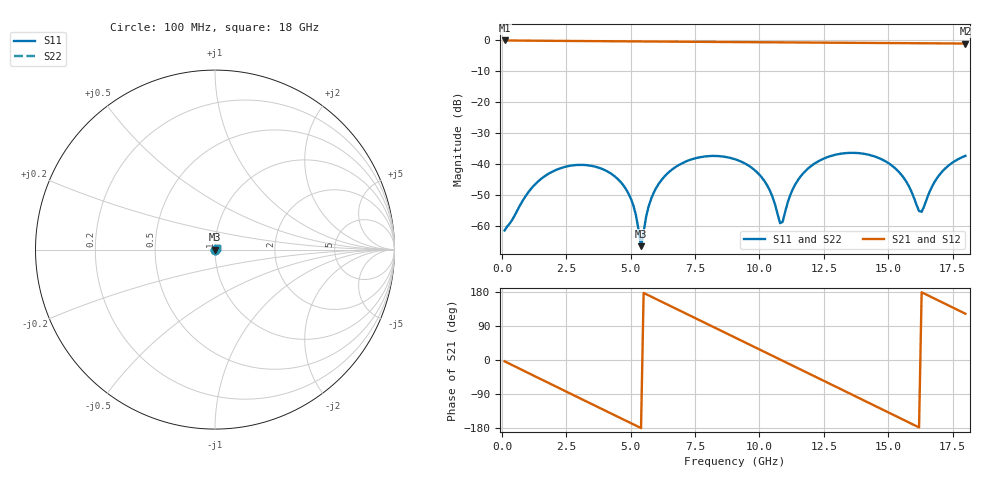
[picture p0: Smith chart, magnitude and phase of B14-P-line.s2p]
! yapnr rf coupon B: B14 P L16 (line, family P)
! stackup JLC06161H-2116C, nominal parameters; reference planes 10 mm from each end; 50 ohm (renormalized from the line's Zc)
! model: 2D quasi-static RLGC (Djordjevic-Sarkar, Huray roughness, Wheeler loss); generated by python -m yapnr.rf.coupons expected
# GHz S DB R 50
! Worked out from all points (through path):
!   180 points, 100 MHz to 18 GHz, reference 50 ohm
!   highest |S21| = -0.01 dB at 100 MHz (marker M1); lowest = -1.0 dB at 18 GHz (marker M2)
!   group delay of S21, straight-line fit = 92.1 ps
!   lowest |S11| = -66.5 dB at 5.4 GHz (marker M3), VSWR 1.00, Z = 50 + j0.0105 ohm
!   |S11| at or under -10 dB: start of sweep to end of sweep
!   |S22| runs from -66.5 to -36.3 dB; largest |S21 - S12| = 0
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0.1  -61.45 26.5  -0.01 -3.5  -0.01 -3.5  -61.45 26.5
1.5  -44.88 55.2  -0.11 -50.3  -0.11 -50.3  -44.88 55.2
2.3  -41.24 32.3  -0.16 -76.9  -0.16 -76.9  -41.24 32.3
3.1  -40.24 7.2  -0.21 -103.5  -0.21 -103.5  -40.24 7.2
4  -41.96 -21.1  -0.26 -133.3  -0.26 -133.3  -41.96 -21.1
4.7  -46.70 -41.4  -0.30 -156.5  -0.30 -156.5  -46.70 -41.4
5.1  -53.33 -47.7  -0.32 -169.8  -0.32 -169.8  -53.33 -47.7
5.4  -66.52 12.9  -0.34 -179.7  -0.34 -179.7  -66.52 12.9
5.7  -53.51 87.3  -0.35 170.4  -0.35 170.4  -53.51 87.3
6.1  -46.20 81.7  -0.38 157.1  -0.38 157.1  -46.20 81.7
7.7  -37.75 33.5  -0.46 104.1  -0.46 104.1  -37.75 33.5
9.1  -38.56 -10.2  -0.54 57.8  -0.54 57.8  -38.56 -10.2
10.2  -45.53 -39.0  -0.60 21.3  -0.60 21.3  -45.53 -39.0
10.8  -59.08 2.1  -0.63 1.4  -0.63 1.4  -59.08 2.1
11.4  -46.41 78.2  -0.66 -18.5  -0.66 -18.5  -46.41 78.2
12.1  -40.05 62.5  -0.70 -41.7  -0.70 -41.7  -40.05 62.5
13.6  -36.34 17.8  -0.78 -91.5  -0.78 -91.5  -36.34 17.8
15.1  -40.19 -25.4  -0.86 -141.3  -0.86 -141.3  -40.19 -25.4
15.7  -45.60 -35.6  -0.89 -161.3  -0.89 -161.3  -45.60 -35.6
16.3  -55.40 29.3  -0.92 178.7  -0.92 178.7  -55.40 29.3
17  -43.37 70.7  -0.96 155.4  -0.96 155.4  -43.37 70.7
18  -37.32 46.6  -1.01 122.1  -1.01 122.1  -37.32 46.6
